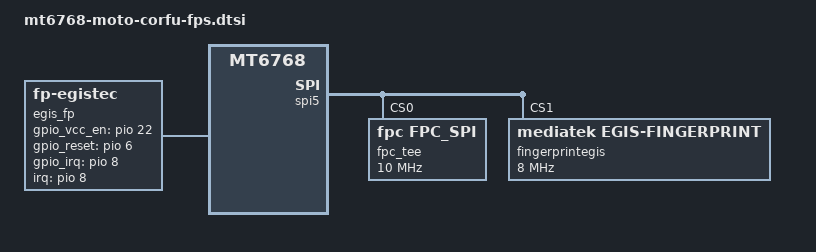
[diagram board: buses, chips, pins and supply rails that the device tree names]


&pio {
        fingerprint_pins_default: fp_default {
                pins_cmd_dat {
                        pinmux = <PINMUX_GPIO14__FUNC_SPI5_CSB>;
                        slew-rate = <1>;
                        bias-pull-up;
                };

                pins_cmd2_dat {
                        pinmux = <PINMUX_GPIO16__FUNC_SPI5_CLK>;
                        slew-rate = <1>;
                        bias-pull-down;
                };

                pins_cmd3_dat {
                        pinmux = <PINMUX_GPIO13__FUNC_SPI5_MI>;
                        slew-rate = <0>;
                        bias-pull-down;
                };

                pins_cmd4_dat {
                        pinmux = <PINMUX_GPIO15__FUNC_SPI5_MO>;
                        slew-rate = <1>;
                        bias-pull-down;
                };
        };

        finger_spi_active: finger_spi_active {
                pins_cmd_dat {
                        pinmux = <PINMUX_GPIO14__FUNC_SPI5_CSB>;
                        drive-strength = <2>;
                };

                pins_cmd2_dat {
                        pinmux = <PINMUX_GPIO16__FUNC_SPI5_CLK>;
                        drive-strength = <2>;
                };

                pins_cmd3_dat {
                        pinmux = <PINMUX_GPIO13__FUNC_SPI5_MI>;
                        drive-strength = <2>;
                };

                pins_cmd4_dat {
                        pinmux = <PINMUX_GPIO15__FUNC_SPI5_MO>;
                        drive-strength = <2>;
                };
        };

        finger_spi_default: finger_spi_default {
                pins_cmd_dat {
                        pinmux = <PINMUX_GPIO14__FUNC_SPI5_CSB>;
                        slew-rate = <1>;
                        output-low;
                };

                pins_cmd2_dat {
                        pinmux = <PINMUX_GPIO16__FUNC_SPI5_CLK>;
                        slew-rate = <1>;
                        output-low;
                };

                pins_cmd3_dat {
                        pinmux = <PINMUX_GPIO13__FUNC_SPI5_MI>;
                        slew-rate = <1>;
                        output-low;
                };

                pins_cmd4_dat {
                        pinmux = <PINMUX_GPIO15__FUNC_SPI5_MO>;
                        slew-rate = <1>;
                        output-low;
                };
        };

	fingerprint_irq: fingerprint_irq {
		pins_cmd_dat {
			pinmux = <PINMUX_GPIO8__FUNC_GPIO8>;
			slew-rate = <0>;
			bias-disable;
		};
	};

	fingerprint_reset_high: fingerprint_reset_high {
		pins_cmd_dat {
			pinmux = <PINMUX_GPIO6__FUNC_GPIO6>;
			slew-rate = <1>;
			output-high;
		};
	};

	fingerprint_reset_low: fingerprint_reset_low {
		pins_cmd_dat {
			pinmux = <PINMUX_GPIO6__FUNC_GPIO6>;
			slew-rate = <1>;
			output-low;
		};
	};

	fingerprint_ldo1p8_high: fingerprint_ldo1p8_high {
		pins_cmd_dat {
			pinmux = <PINMUX_GPIO22__FUNC_GPIO22>;
			slew-rate = <1>;
			output-high;
		};
	};

	fingerprint_ldo1p8_low: fingerprint_ldo1p8_low {
		pins_cmd_dat {
			pinmux = <PINMUX_GPIO22__FUNC_GPIO22>;
			slew-rate = <1>;
			output-low;
		};
	};

	/*fingerprint_ldo3p3_high: fingerprint_ldo3p3_high {
		pins_cmd_dat {
			pinmux = <PINMUX_GPIO87__FUNC_GPIO87>;
			slew-rate = <1>;
			output-high;
		};
	};

	fingerprint_ldo3p3_low: fingerprint_ldo3p3_low {
		pins_cmd_dat {
			pinmux = <PINMUX_GPIO87__FUNC_GPIO87>;
			slew-rate = <1>;
			output-low;
		};
	};*/
};

&odm {
/*
	fingerprint_int: fingerprint_int {
		compatible = "mediatek,fingerprint-fpc";
		fpc,enable-wakeup;
		interrupt-parent = <&pio>;
		interrupts = <8 IRQ_TYPE_EDGE_RISING 8 0>;
		pinctrl-names = "fingerprint_irq", "fingerprint_reset_high", "fingerprint_reset_low";
		pinctrl-0 = <&fingerprint_irq>;
		pinctrl-1 = <&fingerprint_reset_high>;
		pinctrl-2 = <&fingerprint_reset_low>;
		fpc,vdd= <&pio 89 0>;
		fpc,irq = <&pio 15 0>;
		status = "okay";
	};
*/
	egis_fp: fp_egistec {
		compatible = "fp-egistec";
                interrupt-parent = <&pio>;
                interrupts = <8 IRQ_TYPE_EDGE_RISING 8 0>;

                fp-ctrl-power;
                fp-gpio-vcc-enable;

                egistec,gpio_vcc_en = <&pio 22 0x0>;
                egistec,gpio_reset = <&pio 6 0x0>;
                egistec,gpio_irq = <&pio 8 0x0>;
/*
                vcc_fp-supply = <&mt_pmic_vfp_ldo_reg>;
                egis-fp,vcc-voltage = <3000000 3000000>;
                egis-fp,vcc-current = <100000>;
*/
                pinctrl-names = "egis_rst_high", "egis_rst_low", 
                                "egis_irq_active", "egis_vcc_high", 
                                "egis_vcc_low", "egis_spi_active", 
                                "egis_spi_default";
                pinctrl-0 = <&fingerprint_reset_high>;
                pinctrl-1 = <&fingerprint_reset_low>;
                pinctrl-2 = <&fingerprint_irq>;
                pinctrl-3 = <&fingerprint_ldo1p8_high>;
                pinctrl-4 = <&fingerprint_ldo1p8_low>;
                pinctrl-5 = <&finger_spi_active>;
                pinctrl-6 = <&finger_spi_default>;

		status = "okay";
       };
};
/* 1.8v */
/* &mt_pmic_vio18_ldo_reg {
	regulator-boot-on;
	regulator-always-on;
}; */
/* 3.3v */
/*
&mt_pmic_vfp_ldo_reg {
	regulator-min-microvolt = <3300000>;
	regulator-max-microvolt = <3300000>;
	regulator-boot-on;
	regulator-always-on;
};
*/
&spi5 {
	#address-cells = <1>;
	#size-cells = <0>;
	mediatek,pad-select = <0>, <1>;
	fpc_tee@0 {
		compatible = "fpc,fpc_spi";
		reg = <0>;
		fpc,enable-wakeup;
		spi-max-frequency = <10000000>;
		netlink-event = <31>;
		status = "okay";
	};
        fingerprintegis@1 {
                compatible = "mediatek,egis-fingerprint";
                reg = <1>;
                spi-max-frequency = <8000000>;
                netlink-event = <30>;
                status = "okay";
        };
};
